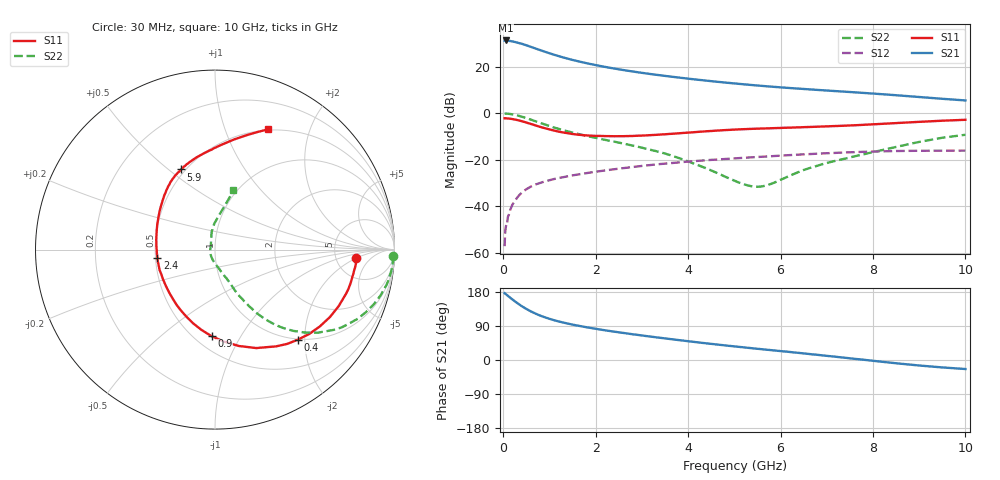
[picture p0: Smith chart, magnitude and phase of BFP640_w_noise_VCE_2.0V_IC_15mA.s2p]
! (c) 2013  Infineon Technologies AG, Munich
! Infineon Technologies  Discrete & RF Semiconductors
! BFP640
! VCE =  2.0 V,  IC =  15 mA
! Common Emitter S-Parameters:  Apr 2013
# GHz  S  MA  R  50
!  f  S11  S21  S12  S22
! GHz  MAG  ANG  MAG  ANG  MAG  ANG  MAG  ANG
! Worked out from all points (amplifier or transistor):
!   99 points, 30 MHz to 10 GHz, reference 50 ohm
!   highest |S21| = 31.4 dB at 50 MHz (marker M1)
!   |S21| within 3 dB of that: start of sweep to 632.5 MHz
!   unconditionally stable (mu >= 1): 3.171 GHz to end of sweep
!   at 350 MHz: K = 0.21, MSG = 32.6 dB, |S12| = -35.0 dB
!   at 3.5 GHz: K = 1.02, MAG = 18.0 dB, |S12| = -21.6 dB
!   at 10 GHz: K = 1.08, MAG = 9.1 dB, |S12| = -16.0 dB
!   lowest NFmin = 0.75 dB at 450 MHz
!   S11 on the Smith chart (normalised r, x): 30 MHz: 7.89, -2.06; 400 MHz: 0.98, -1.85; 900 MHz: 0.60, -0.76; 2.4 GHz: 0.51, -0.05; 5.9 GHz: 0.47, +0.55; 10 GHz: 0.49, +1.41
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0.03  0.7881 -3.6  37.01 176.4  0.0014 83.0  0.9919 -2.0
0.05  0.7887 -6.1  37.17 174.6  0.0033 96.6  0.9937 -3.6
0.15  0.7702 -18.7  36.2 164.5  0.0084 79.3  0.9752 -11.7
0.25  0.7422 -30.5  34.51 155.0  0.013 74.8  0.9358 -19.0
0.3  0.7239 -36.3  33.55 150.6  0.0154 73.8  0.9105 -22.5
0.4  0.6816 -47.5  31.54 142.1  0.0197 69.3  0.8532 -28.9
0.5  0.6378 -57.7  29.27 134.8  0.0235 65.7  0.7954 -34.3
0.6  0.5947 -67.3  27.01 128.1  0.0268 62.4  0.7356 -39.0
0.8  0.5139 -84.7  23.04 117.1  0.0321 58.0  0.6268 -46.2
0.9  0.4827 -92.3  21.3 112.7  0.0345 56.3  0.5803 -48.9
1  0.4539 -99.5  19.73 108.7  0.0367 54.8  0.5375 -51.3
1.2  0.4067 -112.9  17.12 101.7  0.041 52.9  0.4668 -54.7
1.4  0.3753 -124.6  15.04 96.0  0.0446 51.1  0.4119 -57.2
1.7  0.3439 -140.9  12.71 88.7  0.0502 49.4  0.3476 -59.6
2.4  0.3241 -171.8  9.263 74.8  0.0632 45.5  0.2482 -64.2
3.4  0.3523 155.7  6.618 58.5  0.0818 38.8  0.1464 -71.6
4.2  0.401 136.6  5.332 46.7  0.0956 32.7  0.0786 -89.3
5.1  0.4546 122.1  4.335 34.7  0.1096 25.8  0.0327 -142.2
5.9  0.4847 112.9  3.709 24.8  0.1222 19.7  0.0337 133.4
6.7  0.5155 103.8  3.262 14.8  0.135 12.9  0.0705 107.1
8.5  0.6213 80.4  2.469 -8.6  0.1558 -4.4  0.1906 83.5
10  0.7311 66.3  1.907 -23.8  0.1591 -15.9  0.3484 73.2
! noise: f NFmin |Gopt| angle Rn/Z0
0.45  0.75  0.16  7  0.02
0.9  0.77  0.15  15  0.02
1.5  0.79  0.12  26  0.04
1.9  0.79  0.09  43  0.04
2.4  0.82  0.13  -116  0.05
3.5  0.95  0.19  -105  0.07
5.5  1.16  0.22  -100  0.12
10  1.69  0.57  -57  0.42
